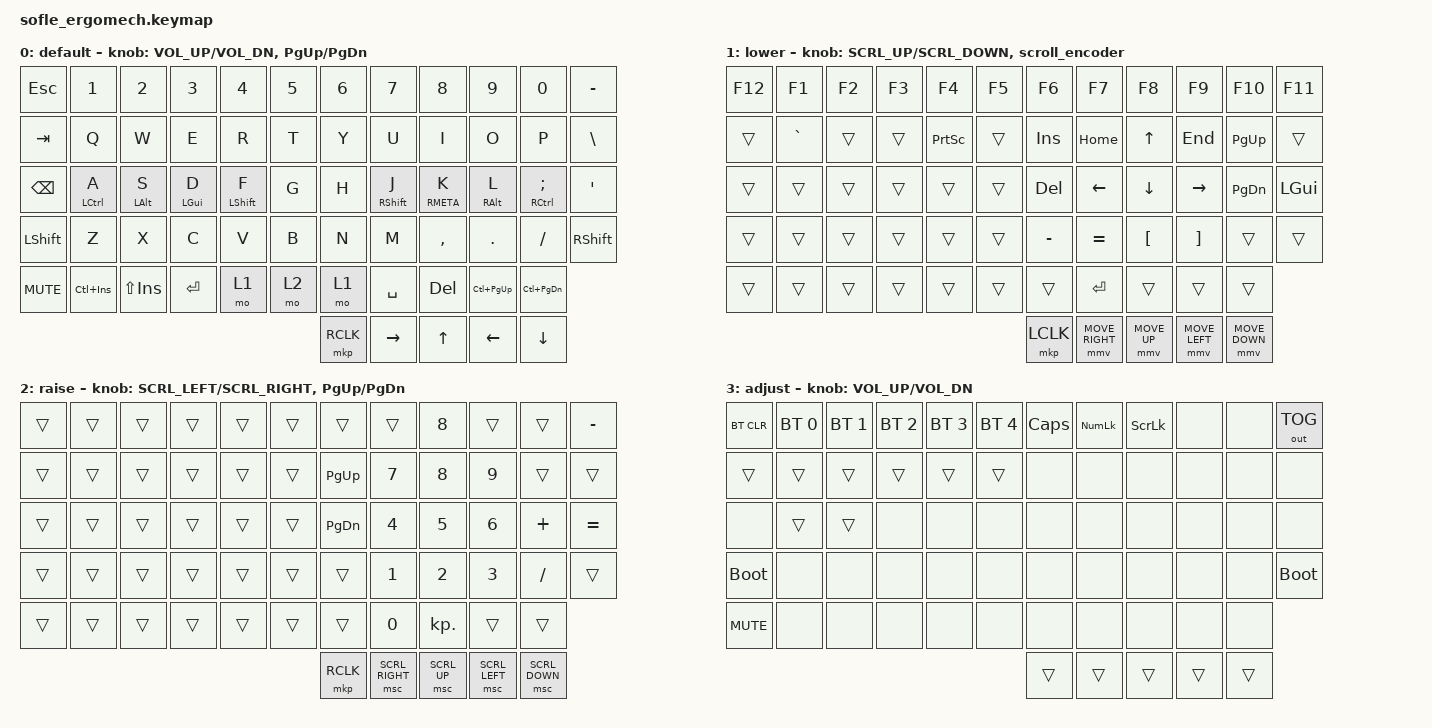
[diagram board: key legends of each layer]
/*
 * Copyright (c) 2020 The ZMK Contributors
 *
 * SPDX-License-Identifier: MIT
 */

#define ZMK_POINTING_DEFAULT_MOVE_VAL 600 // 1200
#define ZMK_POINTING_DEFAULT_SCRL_VAL 10 // 25

#include <input/processors.dtsi>
#include <zephyr/dt-bindings/input/input-event-codes.h>
#include <behaviors.dtsi>
#include <dt-bindings/zmk/bt.h>
#include <dt-bindings/zmk/keys.h>
#include <dt-bindings/zmk/outputs.h>
#include <dt-bindings/zmk/pointing.h>

#define BASE 0
#define LOWER 1
#define RAISE 2
#define ADJUST 3

&mmv_input_listener { input-processors = <&zip_xy_scaler 2 1>; };

&msc_input_listener { input-processors = <&zip_scroll_scaler 2 1>; };

&msc {
    acceleration-exponent = <1>;      // 0
    time-to-max-speed-ms = <100>;       // 300
    delay-ms = <0>;                   // 0
};

&mmv {
    time-to-max-speed-ms = <500>;
    acceleration-exponent = <1>;
    trigger-period-ms = <16>;
};

/ {
    // Activate ADJUST layer by pressing raise and lower

    conditional_layers {
        compatible = "zmk,conditional-layers";

        adjust_layer {
            if-layers = <1 2>;
            then-layer = <3>;
        };
    };

    behaviors {
        tpmt: tpmt {
            compatible = "zmk,behavior-hold-tap";
            label = "TPMT";
            bindings = <&kp>, <&kp>;

            #binding-cells = <2>;
            tapping-term-ms = <200>;
            quick-tap-ms = <125>;
            require-prior-idle-ms = <125>;
            flavor = "tap-preferred";
        };
    };

    behaviors {
        inc_dec_msc: behavior_sensor_rotate_mouse_wheel {
            compatible = "zmk,behavior-sensor-rotate-var";
            label = "ENC_MOUSE_WHEEL";
            #sensor-binding-cells = <2>;
            bindings = <&msc>, <&msc>;
        };

        inc_dec_mmv: behavior_sensor_rotate_mouse_movement {
            compatible = "zmk,behavior-sensor-rotate-var";
            label = "ENC_MOUSE_MOVEMENT";
            #sensor-binding-cells = <2>;
            bindings = <&mmv>, <&mmv>;
        };
    };

    scroll_encoder: scroll_encoder {
        compatible = "zmk,behavior-sensor-rotate";
        #sensor-binding-cells = <0>;
        bindings = <&msc SCRL_DOWN>, <&msc SCRL_UP>;

        tap-ms = <100>;
    };

    keymap {
        compatible = "zmk,keymap";

        default_layer {
            label = "default";

            // ------------------------------------------------------------------------------------------------------------
            // |   `   |  1  |  2  |  3   |  4   |  5   |                   |  6   |  7    |  8    |  9   |   0   |       |
            // |  ESC  |  Q  |  W  |  E   |  R   |  T   |                   |  Y   |  U    |  I    |  O   |   P   | BKSPC |
            // |  TAB  |  A  |  S  |  D   |  F   |  G   |                   |  H   |  J    |  K    |  L   |   ;   |   '   |
            // | SHIFT |  Z  |  X  |  C   |  V   |  B   |  MUTE  |  |       |  N   |  M    |  ,    |  .   |   /   | SHIFT |
            //               | GUI | ALT  | CTRL | LOWER|  ENTER |  | SPACE | RAISE| CTRL  | ALT   | GUI  |

            bindings = <
&kp ESCAPE     &kp N1         &kp N2            &kp N3        &kp N4          &kp N5  &kp N6     &kp N7          &kp N8         &kp N9             &kp N0            &kp MINUS
&kp TAB        &kp Q          &kp W             &kp E         &kp R           &kp T   &kp Y      &kp U           &kp I          &kp O              &kp P             &kp BACKSLASH
&kp BACKSPACE  &tpmt LCTRL A  &tpmt LEFT_ALT S  &tpmt LGUI D  &tpmt LSHIFT F  &kp G   &kp H      &tpmt RSHIFT J  &tpmt RMETA K  &tpmt RIGHT_ALT L  &tpmt RCTRL SEMI  &kp SQT
&kp LSHFT      &kp Z          &kp X             &kp C         &kp V           &kp B   &kp N      &kp M           &kp COMMA      &kp DOT            &kp FSLH          &kp RSHFT
&kp C_MUTE     &kp LC(INS)    &kp LS(INS)       &kp ENTER     &mo 1           &mo 2   &mo 1      &kp SPACE       &kp DELETE     &kp LC(PG_UP)      &kp LC(PG_DN)
                                                                                      &mkp RCLK  &kp RIGHT       &kp UP_ARROW   &kp LEFT           &kp DOWN
            >;

            sensor-bindings = <&inc_dec_kp C_VOL_UP C_VOL_DN &inc_dec_kp PG_UP PG_DN>;
        };

        lower_layer {
            label = "lower";

            // TODO: Some binds are waiting for shifted keycode support.
            // ------------------------------------------------------------------------------------------------------------
            // |       |  F1 |  F2 |  F3  |  F4  |  F5  |                   |  F6  |  F7   |  F8   |  F9  |  F10  |  F11  |
            // |   `   |  1  |  2  |  3   |  4   |  5   |                   |  6   |  7    |  8    |  9   |   0   |  F12  |
            // |       |  !  |  @  |  #   |  $   |  %   |                   |  ^   |  &    |  *    |  (   |   )   |   |   |
            // |       |  =  |  -  |  +   |  {   |  }   |        |  |       |  [   |  ]    |  ;    |  :   |   \   |       |
            //               |     |      |      |      |        |  |       |      |       |       |      |

            bindings = <
&kp F12  &kp F1     &kp F2  &kp F3  &kp F4           &kp F5  &kp F6      &kp F7           &kp F8            &kp F9             &kp F10         &kp F11
&trans   &kp GRAVE  &trans  &trans  &kp PRINTSCREEN  &trans  &kp INS     &kp HOME         &kp UP_ARROW      &kp END            &kp PG_UP       &trans
&trans   &trans     &trans  &trans  &trans           &trans  &kp DELETE  &kp LEFT         &kp DOWN          &kp RIGHT          &kp PG_DN       &kp LEFT_GUI
&trans   &trans     &trans  &trans  &trans           &trans  &kp MINUS   &kp EQUAL        &kp LEFT_BRACKET  &kp RIGHT_BRACKET  &trans          &trans
&trans   &trans     &trans  &trans  &trans           &trans  &trans      &kp ENTER        &trans            &trans             &trans
                                                             &mkp LCLK   &mmv MOVE_RIGHT  &mmv MOVE_UP      &mmv MOVE_LEFT     &mmv MOVE_DOWN
            >;

            sensor-bindings =
                <&inc_dec_msc SCRL_UP SCRL_DOWN>,
                <&scroll_encoder>;
        };

        raise_layer {
            label = "raise";

            // ------------------------------------------------------------------------------------------------------------
            // | BTCLR | BT1  | BT2  |  BT3  |  BT4  |  BT5 |                |      |      |       |      |       |       |
            // |       | INS  | PSCR | GUI   |       |      |                | PGUP |      |   ^   |      |       |       |
            // |       | ALT  | CTRL | SHIFT |       | CAPS |                | PGDN |   <- |   v   |  ->  |  DEL  | BKSPC |
            // |       | UNDO | CUT  | COPY  | PASTE |      |      |  |      |      |      |       |      |       |       |
            //                |      |       |       |      |      |  |      |      |      |       |      |

            bindings = <
&trans  &trans  &trans  &trans  &trans  &trans  &trans     &trans           &kp N8        &trans          &trans          &kp MINUS
&trans  &trans  &trans  &trans  &trans  &trans  &kp PG_UP  &kp N7           &kp N8        &kp N9          &trans          &trans
&trans  &trans  &trans  &trans  &trans  &trans  &kp PG_DN  &kp N4           &kp N5        &kp N6          &kp PLUS        &kp EQUAL
&trans  &trans  &trans  &trans  &trans  &trans  &trans     &kp N1           &kp N2        &kp N3          &kp SLASH       &trans
&trans  &trans  &trans  &trans  &trans  &trans  &trans     &kp N0           &kp KP_DOT    &trans          &trans
                                                &mkp RCLK  &msc SCRL_RIGHT  &msc SCRL_UP  &msc SCRL_LEFT  &msc SCRL_DOWN
            >;

            sensor-bindings =
                <&inc_dec_msc SCRL_LEFT SCRL_RIGHT>,
                <&inc_dec_kp PG_UP PG_DN>;
        };

        adjust_layer {
            // ----------------------------------------------------------------------------------------------------------------------------
            // | BTCLR  |  BT1    |  BT2    |   BT3   |   BT4   |   BT5   |                  |      |      |       |      |       |       |
            // | EXTPWR | RGB_HUD | RGB_HUI | RGB_SAD | RGB_SAI | RGB_EFF |                  |      |      |       |      |       |       |
            // |        | RGB_BRD | RGB_BRI |         |         |         |                  |      |      |       |      |       |       |
            // |        |         |         |         |         |         | RGB_TOG | |      |      |      |       |      |       |       |
            //                    |         |         |         |         |         | |      |      |      |       |      |

            label = "adjust";
            bindings = <
&bt BT_CLR   &bt BT_SEL 0  &bt BT_SEL 1  &bt BT_SEL 2  &bt BT_SEL 3  &bt BT_SEL 4  &kp CAPS  &kp KP_NUMLOCK  &kp SCROLLLOCK  &none   &none   &out OUT_TOG
&trans       &trans        &trans        &trans        &trans        &trans        &none     &none           &none           &none   &none   &none
&none        &trans        &trans        &none         &none         &none         &none     &none           &none           &none   &none   &none
&bootloader  &none         &none         &none         &none         &none         &none     &none           &none           &none   &none   &bootloader
&kp C_MUTE   &none         &none         &none         &none         &none         &none     &none           &none           &none   &none
                                                                                   &trans    &trans          &trans          &trans  &trans
            >;

            sensor-bindings = <&inc_dec_kp C_VOL_UP C_VOL_DN>;
        };
    };
};
